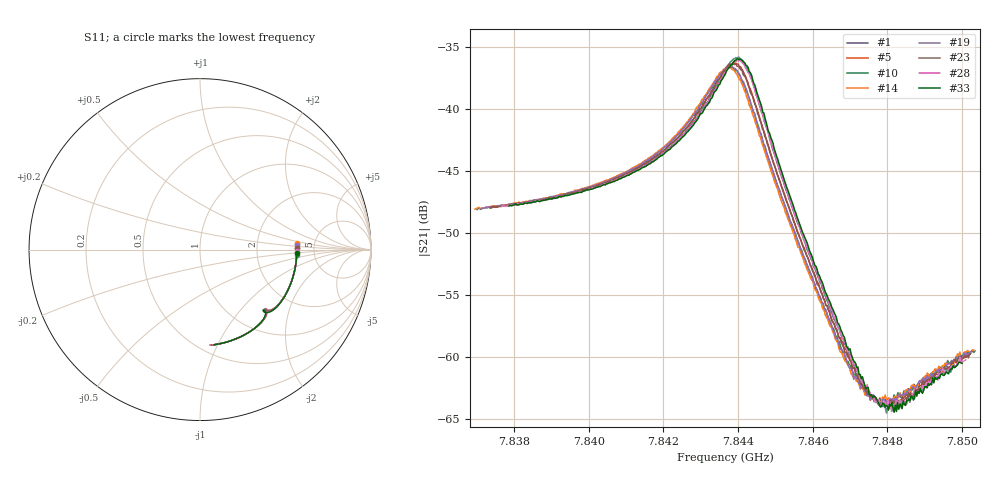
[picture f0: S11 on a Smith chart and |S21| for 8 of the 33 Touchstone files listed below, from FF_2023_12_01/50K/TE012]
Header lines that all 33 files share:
#  HZ  S  RI  R  50.00
! Rohde & Schwarz Vector Network Analyzer
! Rohde-Schwarz,ZNB20-2Port,1311601062101988,3.16
! freq[Hz]  re:S11  im:S11  re:S21  im:S21  re:S12  im:S12  re:S22  im:S22
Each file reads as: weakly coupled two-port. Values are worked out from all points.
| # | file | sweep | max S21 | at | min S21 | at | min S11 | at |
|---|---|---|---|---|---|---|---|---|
| 1 | 9_2_48.099_50.1340294_4038.693_.s2p | 7.83796 GHz to 7.84981 GHz | -35.85 dB | 7.844 GHz | -64.5 dB | 7.84797 GHz | -5.8 dB | 7.84409 GHz |
| 2 | 15_2_48.0981_50.1343956_7742.304_.s2p | 7.83782 GHz to 7.84994 GHz | -35.85 dB | 7.84397 GHz | -64.4 dB | 7.84803 GHz | -5.8 dB | 7.84409 GHz |
| 3 | 19_2_48.1014_50.1323433_10064.737_.s2p | 7.83779 GHz to 7.84995 GHz | -35.97 dB | 7.84396 GHz | -64.2 dB | 7.84794 GHz | -5.8 dB | 7.84408 GHz |
| 4 | 40_2_48.0985_50.1209869_23027.063_.s2p | 7.83755 GHz to 7.85011 GHz | -36.15 dB | 7.84393 GHz | -64.2 dB | 7.84804 GHz | -5.8 dB | 7.84405 GHz |
| 5 | 55_2_48.1003_50.1040154_32337.068_.s2p | 7.83736 GHz to 7.85021 GHz | -36.25 dB | 7.84388 GHz | -64.2 dB | 7.84828 GHz | -5.8 dB | 7.84404 GHz |
| 6 | 63_2_48.1005_50.0973511_37212.496_.s2p | 7.83733 GHz to 7.85021 GHz | -36.35 dB | 7.84387 GHz | -64.0 dB | 7.84776 GHz | -5.8 dB | 7.84399 GHz |
| 7 | 82_2_48.1007_50.080265_48429.457_.s2p | 7.83722 GHz to 7.85026 GHz | -36.46 dB | 7.84387 GHz | -64.0 dB | 7.84788 GHz | -5.8 dB | 7.84397 GHz |
| 8 | 96_2_48.1034_50.0697556_56996.469_.s2p | 7.8371 GHz to 7.85031 GHz | -36.54 dB | 7.8438 GHz | -63.9 dB | 7.84793 GHz | -5.7 dB | 7.84394 GHz |
| 9 | 97_2_48.1007_50.065815_57598.762_.s2p | 7.83707 GHz to 7.85034 GHz | -36.58 dB | 7.84384 GHz | -63.9 dB | 7.84799 GHz | -5.7 dB | 7.84397 GHz |
| 10 | 111_2_48.1031_50.0548172_65894.742_.s2p | 7.83701 GHz to 7.85034 GHz | -36.62 dB | 7.84378 GHz | -63.9 dB | 7.84778 GHz | -5.7 dB | 7.84394 GHz |
| 11 | 128_2_48.1004_50.0392876_76284.734_.s2p | 7.83701 GHz to 7.85029 GHz | -36.70 dB | 7.84368 GHz | -63.8 dB | 7.84803 GHz | -5.7 dB | 7.84392 GHz |
| 12 | 141_2_48.0987_50.0265274_84044.992_.s2p | 7.8369 GHz to 7.85034 GHz | -36.78 dB | 7.84372 GHz | -63.6 dB | 7.84796 GHz | -5.7 dB | 7.84389 GHz |
| 13 | 152_2_48.1036_50.0172691_90000.031_.s2p | 7.83687 GHz to 7.85034 GHz | -36.78 dB | 7.8437 GHz | -63.9 dB | 7.84771 GHz | -5.7 dB | 7.84387 GHz |
| 14 | 186_2_48.1004_50.0531044_69560.359_.s2p | 7.83696 GHz to 7.85031 GHz | -36.67 dB | 7.8438 GHz | -63.6 dB | 7.84781 GHz | -5.7 dB | 7.8439 GHz |
| 15 | 193_2_48.1022_50.0607986_65316.141_.s2p | 7.83702 GHz to 7.85028 GHz | -36.65 dB | 7.84378 GHz | -64.0 dB | 7.84786 GHz | -5.7 dB | 7.84392 GHz |
| 16 | 194_2_48.1021_50.0611038_64756.898_.s2p | 7.83694 GHz to 7.85036 GHz | -36.63 dB | 7.84375 GHz | -63.9 dB | 7.84784 GHz | -5.7 dB | 7.84392 GHz |
| 17 | 199_2_48.0988_50.0673943_61890.699_.s2p | 7.83716 GHz to 7.85019 GHz | -36.54 dB | 7.84377 GHz | -63.8 dB | 7.84821 GHz | -5.7 dB | 7.84394 GHz |
| 18 | 203_2_48.1024_50.0749168_59313.688_.s2p | 7.83699 GHz to 7.85037 GHz | -36.57 dB | 7.84378 GHz | -64.1 dB | 7.8479 GHz | -5.7 dB | 7.84395 GHz |
| 19 | 204_2_48.0999_50.0759735_58724.73_.s2p | 7.83712 GHz to 7.85024 GHz | -36.56 dB | 7.84381 GHz | -63.9 dB | 7.84785 GHz | -5.7 dB | 7.84395 GHz |
| 20 | 213_2_48.101_50.086483_53351.992_.s2p | 7.83713 GHz to 7.85028 GHz | -36.54 dB | 7.84384 GHz | -64.3 dB | 7.84778 GHz | -5.8 dB | 7.84394 GHz |
| 21 | 215_2_48.0964_50.0891418_52213.043_.s2p | 7.83726 GHz to 7.85018 GHz | -36.51 dB | 7.84388 GHz | -64.1 dB | 7.84811 GHz | -5.8 dB | 7.84398 GHz |
| 22 | 239_2_48.0983_50.1186295_37872.18_.s2p | 7.8373 GHz to 7.85025 GHz | -36.43 dB | 7.84387 GHz | -64.3 dB | 7.84798 GHz | -5.8 dB | 7.84403 GHz |
| 23 | 240_2_48.0978_50.1196709_37322.027_.s2p | 7.83737 GHz to 7.8502 GHz | -36.38 dB | 7.84388 GHz | -63.9 dB | 7.84802 GHz | -5.8 dB | 7.84404 GHz |
| 24 | 245_2_48.0998_50.1255188_34187.074_.s2p | 7.83754 GHz to 7.85005 GHz | -36.32 dB | 7.84386 GHz | -64.0 dB | 7.8478 GHz | -5.8 dB | 7.84401 GHz |
| 25 | 254_2_48.0991_50.1354599_28734.58_.s2p | 7.83749 GHz to 7.85016 GHz | -36.22 dB | 7.84392 GHz | -64.2 dB | 7.84794 GHz | -5.8 dB | 7.84404 GHz |
| 26 | 258_2_48.102_50.1388054_26457.072_.s2p | 7.83748 GHz to 7.85017 GHz | -36.29 dB | 7.84392 GHz | -64.1 dB | 7.84808 GHz | -5.8 dB | 7.84405 GHz |
| 27 | 271_2_48.1011_50.1533966_18737.135_.s2p | 7.83758 GHz to 7.85015 GHz | -36.17 dB | 7.84386 GHz | -64.2 dB | 7.84811 GHz | -5.8 dB | 7.84408 GHz |
| 28 | 281_2_48.1061_50.1630669_12781.379_.s2p | 7.83767 GHz to 7.8501 GHz | -36.07 dB | 7.84398 GHz | -64.4 dB | 7.84811 GHz | -5.8 dB | 7.84413 GHz |
| 29 | 288_2_48.0996_50.1677094_8471.756_.s2p | 7.83782 GHz to 7.85002 GHz | -36.03 dB | 7.84401 GHz | -64.3 dB | 7.84816 GHz | -5.8 dB | 7.84413 GHz |
| 30 | 293_2_48.0949_50.1681366_5372.03_.s2p | 7.83774 GHz to 7.8501 GHz | -35.98 dB | 7.84395 GHz | -64.4 dB | 7.84809 GHz | -5.8 dB | 7.84414 GHz |
| 31 | 296_2_48.0999_50.1685143_3661.614_.s2p | 7.8378 GHz to 7.85007 GHz | -35.94 dB | 7.84403 GHz | -64.4 dB | 7.84805 GHz | -5.8 dB | 7.84415 GHz |
| 32 | 301_2_48.0993_50.1696091_789.93_.s2p | 7.83776 GHz to 7.85012 GHz | -35.91 dB | 7.84403 GHz | -64.3 dB | 7.84796 GHz | -5.8 dB | 7.84416 GHz |
| 33 | 307_2_48.1025_50.1699142_-0.346_.s2p | 7.83787 GHz to 7.85 GHz | -35.97 dB | 7.84399 GHz | -64.5 dB | 7.84818 GHz | -5.8 dB | 7.84415 GHz |
